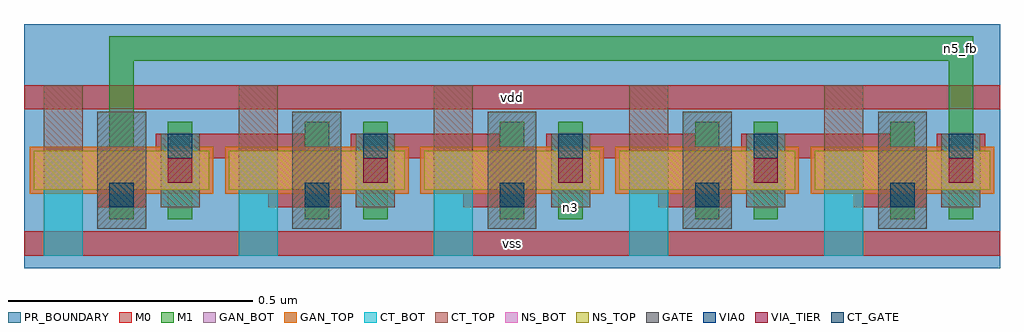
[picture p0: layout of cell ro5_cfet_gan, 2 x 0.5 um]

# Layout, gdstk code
import gdstk
lib = gdstk.Library(unit=1e-6, precision=1e-09)
def R(c, l, rs):  # rectangles x0, y0, x1, y1
    for r in rs: c.add(gdstk.rectangle(r[:2], r[2:], *l))
def A(c, l, x, y, w, h, nx, ny, dx, dy):  # array of equal rectangles
    R(c, l, [(x+i*dx, y+j*dy, x+i*dx+w, y+j*dy+h) for i in range(nx) for j in range(ny)])
PR_BOUNDARY = (1, 0)
NS_BOT = (10, 0)
NS_TOP = (11, 0)
GATE = (20, 0)
CT_GATE = (21, 0)
CT_BOT = (30, 0)
CT_TOP = (31, 0)
VIA_TIER = (35, 0)
M0 = (40, 0)
VIA0 = (41, 0)
M1 = (42, 0)
GAN_BOT = (55, 0)
GAN_TOP = (56, 0)

inv_cfet_gan = lib.new_cell('inv_cfet_gan')
R(inv_cfet_gan, PR_BOUNDARY, [(0,0,0.4,0.4)])
R(inv_cfet_gan, NS_BOT, [(0.02,0.16,0.38,0.24)])
R(inv_cfet_gan, NS_TOP, [(0.02,0.16,0.38,0.24)])
R(inv_cfet_gan, GATE, [(0.15,0.08,0.25,0.32)])
R(inv_cfet_gan, CT_GATE, [(0.175,0.125,0.225,0.175)])
R(inv_cfet_gan, CT_BOT, [(0.04,0.025,0.12,0.24), (0.28,0.125,0.36,0.275)])
R(inv_cfet_gan, CT_TOP, [(0.28,0.125,0.36,0.275), (0.04,0.16,0.12,0.375)])
R(inv_cfet_gan, VIA_TIER, [(0.295,0.175,0.345,0.225)])
R(inv_cfet_gan, M0, [(0,0.025,0.4,0.075), (0.15,0.125,0.25,0.175), (0.27,0.225,0.37,0.275), (0,0.325,0.4,0.375)])
R(inv_cfet_gan, VIA0, [(0.175,0.125,0.225,0.175), (0.295,0.225,0.345,0.275)])
R(inv_cfet_gan, M1, [(0.175,0.1,0.225,0.3), (0.295,0.1,0.345,0.3)])
R(inv_cfet_gan, GAN_BOT, [(0.012,0.152,0.388,0.248)])
R(inv_cfet_gan, GAN_TOP, [(0.012,0.152,0.388,0.248)])
inv_cfet_gan.add(gdstk.Label('in', (0.2,0.2), layer=42, texttype=1))
inv_cfet_gan.add(gdstk.Label('out', (0.32,0.2), layer=42, texttype=1))
inv_cfet_gan.add(gdstk.Label('vdd', (0.2,0.35), layer=40, texttype=1))
inv_cfet_gan.add(gdstk.Label('vss', (0.2,0.05), layer=40, texttype=1))

ro5_cfet_gan = lib.new_cell('ro5_cfet_gan')
R(ro5_cfet_gan, PR_BOUNDARY, [(0,0,2,0.5)])
A(ro5_cfet_gan, M0, 0.5, 0.125, 0.075, 0.15, 4, 1, 0.4, 0)
A(ro5_cfet_gan, M0, 0.37, 0.225, 0.205, 0.05, 4, 1, 0.4, 0)
R(ro5_cfet_gan, M1, [(0.175,0.3,0.225,0.475), (1.895,0.3,1.945,0.475), (0.175,0.425,1.945,0.475)])
ro5_cfet_gan.add(gdstk.Reference(inv_cfet_gan, (0,0)))
ro5_cfet_gan.add(gdstk.Reference(inv_cfet_gan, (0.4,0)))
ro5_cfet_gan.add(gdstk.Reference(inv_cfet_gan, (0.8,0)))
ro5_cfet_gan.add(gdstk.Reference(inv_cfet_gan, (1.2,0)))
ro5_cfet_gan.add(gdstk.Reference(inv_cfet_gan, (1.6,0)))
ro5_cfet_gan.add(gdstk.Label('n3', (1.12,0.125), layer=42, texttype=1))
ro5_cfet_gan.add(gdstk.Label('n5_fb', (1.92,0.45), layer=42, texttype=1))
ro5_cfet_gan.add(gdstk.Label('vdd', (1,0.35), layer=40, texttype=1))
ro5_cfet_gan.add(gdstk.Label('vss', (1,0.05), layer=40, texttype=1))

lib.write_gds('ro5_cfet_gan.gds')
